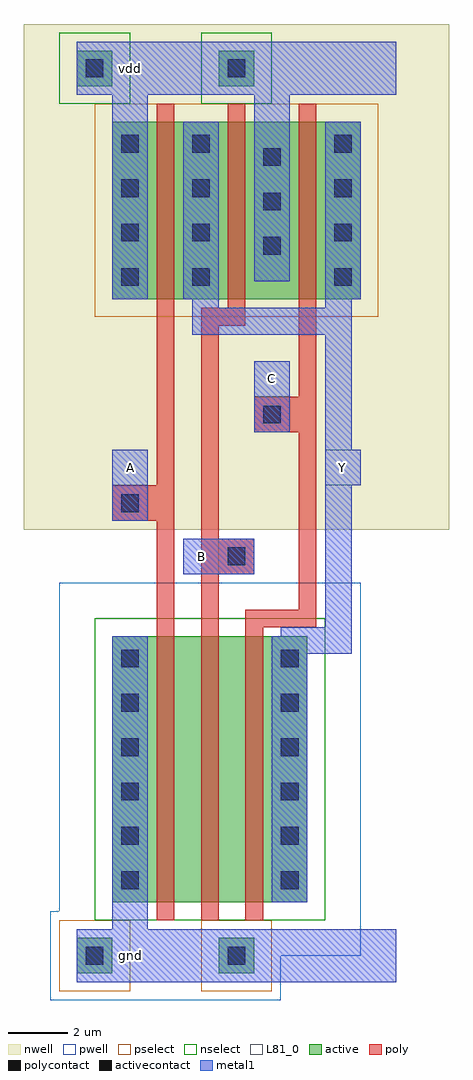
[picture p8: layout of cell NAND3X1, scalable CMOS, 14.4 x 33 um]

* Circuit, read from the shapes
.subckt NAND3X1 A B C Y gnd vdd
M1 n1 A gnd gnd nfet w=9u l=0.6u
M2 n2 B n1 gnd nfet w=9u l=0.6u
M3 Y C n2 gnd nfet w=9u l=0.6u
M4 Y A vdd vdd pfet w=6u l=0.6u
M5 vdd B Y vdd pfet w=6u l=0.6u
M6 Y C vdd vdd pfet w=6u l=0.6u
.ends

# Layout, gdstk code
import gdstk
lib = gdstk.Library(unit=1e-6, precision=1e-09)
def R(c, l, rs):  # rectangles x0, y0, x1, y1
    for r in rs: c.add(gdstk.rectangle(r[:2], r[2:], *l))
def A(c, l, x, y, w, h, nx, ny, dx, dy):  # array of equal rectangles
    R(c, l, [(x+i*dx, y+j*dy, x+i*dx+w, y+j*dy+h) for i in range(nx) for j in range(ny)])
pwell = (41, 0)
nwell = (42, 0)
active = (43, 0)
pselect = (44, 0)
nselect = (45, 0)
poly = (46, 0)
polycontact = (47, 0)
activecontact = (48, 0)
metal1 = (49, 0)
L81_0 = (81, 0)

nand3x1 = lib.new_cell('NAND3X1')
R(nand3x1, pwell, [(-1.5,-1.5,6.3,0), (-1.5,0,9,1.5), (-1.2,1.5,9,12.6)])
R(nand3x1, nwell, [(-2.4,14.4,12,31.5)])
R(nand3x1, active, [(-0.6,-0.6,0.6,0.6), (4.2,-0.6,5.4,0.6), (0.6,1.8,7.2,10.8), (0.6,22.2,9,28.2), (-0.6,29.4,0.6,30.6), (4.2,29.4,5.4,30.6)])
R(nand3x1, pselect, [(-1.2,-1.2,1.2,1.2), (3.6,-1.2,6,1.2), (0,21.6,9.6,28.8)])
R(nand3x1, nselect, [(0,1.2,7.8,11.4), (-1.2,28.8,1.2,31.2), (3.6,28.8,6,31.2)])
R(nand3x1, poly, [(2.1,1.2,2.7,14.7), (3.6,1.2,4.2,12.9), (5.1,1.2,5.7,11.1), (5.1,11.1,7.5,11.7), (6.9,11.7,7.5,17.7), (3.6,12.9,5.4,14.1), (3.6,14.1,4.2,21.3), (0.6,14.7,2.7,15.9), (2.1,15.9,2.7,28.8), (5.4,17.7,7.5,18.9), (6.9,18.9,7.5,28.8), (3.6,21.3,5.1,21.9), (4.5,21.9,5.1,28.8)])
R(nand3x1, polycontact, [(4.5,13.2,5.1,13.8), (0.9,15,1.5,15.6), (5.7,18,6.3,18.6)])
A(nand3x1, activecontact, 0.9, 2.25, 0.6, 0.6, 1, 6, 0, 1.5)
A(nand3x1, activecontact, 6.3, 2.25, 0.6, 0.6, 1, 6, 0, 1.5)
A(nand3x1, activecontact, 0.9, 22.65, 0.6, 0.6, 1, 4, 0, 1.5)
A(nand3x1, activecontact, 3.3, 22.65, 0.6, 0.6, 1, 4, 0, 1.5)
A(nand3x1, activecontact, 8.1, 22.65, 0.6, 0.6, 1, 4, 0, 1.5)
A(nand3x1, activecontact, 5.7, 23.7, 0.6, 0.6, 1, 3, 0, 1.5)
R(nand3x1, activecontact, [(-0.3,-0.3,0.3,0.3), (4.5,-0.3,5.1,0.3), (-0.3,29.7,0.3,30.3), (4.5,29.7,5.1,30.3)])
R(nand3x1, metal1, [(-0.6,-0.9,10.2,0.9), (0.6,0.9,1.8,10.8), (6,1.8,7.2,10.2), (6,10.2,8.7,10.8), (6.3,10.8,8.7,11.1), (7.8,11.1,8.7,15.9), (3,12.9,5.4,14.1), (0.6,14.7,1.8,17.1), (7.8,15.9,9,17.1), (7.8,17.1,8.7,21), (5.4,17.7,6.6,20.1), (3.3,21,8.7,21.9), (3.3,21.9,4.2,22.2), (7.8,21.9,8.7,22.2), (0.6,22.2,1.8,29.1), (3,22.2,4.2,28.2), (7.8,22.2,9,28.2), (5.4,22.8,6.6,29.1), (-0.6,29.1,10.2,30.9)])
R(nand3x1, L81_0, [(3,12.9,4.2,14.1), (0.6,15.9,1.8,17.1), (7.8,15.9,9,17.1), (5.4,18.9,6.6,20.1)])
nand3x1.add(gdstk.Label('B', (3.6,13.5), layer=49, texttype=0))
nand3x1.add(gdstk.Label('vdd', (1.2,30), layer=49, texttype=0))
nand3x1.add(gdstk.Label('gnd', (1.2,0), layer=49, texttype=0))
nand3x1.add(gdstk.Label('A', (1.2,16.5), layer=49, texttype=0))
nand3x1.add(gdstk.Label('C', (6,19.5), layer=49, texttype=0))
nand3x1.add(gdstk.Label('Y', (8.4,16.5), layer=49, texttype=0))

lib.write_gds('NAND3X1.gds')
